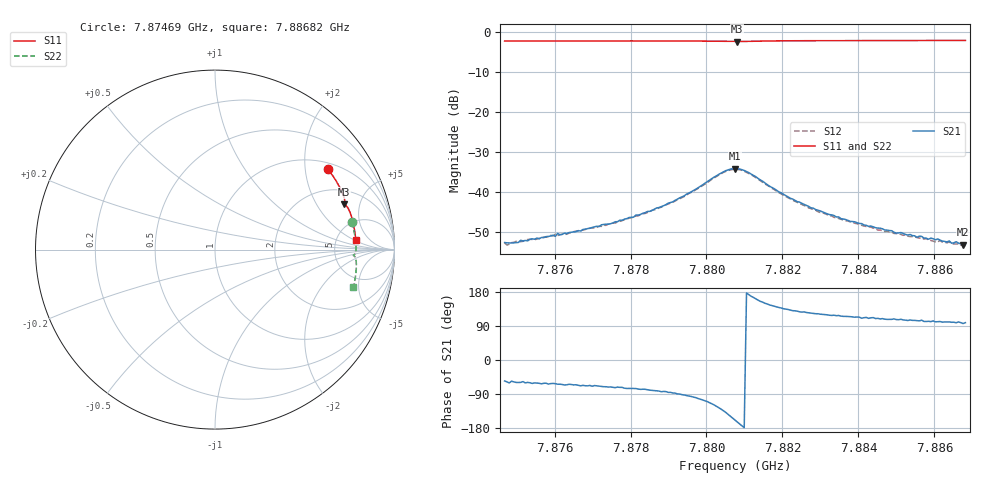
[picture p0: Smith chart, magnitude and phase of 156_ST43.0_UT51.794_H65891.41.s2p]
#  HZ  S  DB  R  50.00
! Rohde & Schwarz Vector Network Analyzer
! Rohde-Schwarz,ZNB20-2Port,1311601062101988,3.16
! Created: UTC 1/12/2023, 6:40:55 PM
! freq[Hz]  db:S11  ang:S11  db:S21  ang:S21  db:S12  ang:S12  db:S22  ang:S22
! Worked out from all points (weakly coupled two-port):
!   201 points, 7.87469 GHz to 7.88682 GHz, reference 50 ohm
!   highest |S21| = -34.08 dB at 7.88075 GHz (marker M1); lowest = -53.1 dB at 7.88676 GHz (marker M2)
!   lowest |S11| = -2.4 dB at 7.88081 GHz (marker M3), VSWR 7.44, Z = 148 + j178 ohm
!   |S11| at or under -10 dB: nowhere
!   |S22| runs from -2.3 to -1.9 dB; largest |S21 - S12| = 0.0013
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7.874686e9  -2.24 35.3  -52.55 -55.4  -52.67 -60.4  -2.19 11.3
7.874746e9  -2.24 35.1  -52.62 -57.7  -53.16 -60.8  -2.20 11.1
7.874989e9  -2.24 34.5  -52.57 -59.2  -52.25 -63.3  -2.18 10.6
7.87602e9  -2.22 31.6  -51.02 -62.4  -50.49 -67.1  -2.15 8.1
7.876081e9  -2.22 31.5  -50.27 -63.8  -50.80 -67.9  -2.15 8.0
7.876202e9  -2.21 31.1  -50.52 -64.6  -50.44 -66.9  -2.14 7.7
7.876748e9  -2.21 29.7  -49.29 -66.9  -49.42 -69.7  -2.13 6.4
7.877597e9  -2.19 27.3  -47.35 -73.0  -47.66 -76.2  -2.11 4.4
7.878749e9  -2.19 24.1  -43.81 -81.9  -43.90 -85.1  -2.09 1.7
7.879417e9  -2.20 22.2  -40.88 -92.3  -41.03 -95.7  -2.10 0.1
7.880448e9  -2.32 19.6  -34.86 -134.1  -35.01 -137.5  -2.22 -2.2
7.880751e9  -2.35 19.2  -34.08 -158.6  -34.26 -161.8  -2.26 -2.4
7.880812e9  -2.35 19.2  -34.13 -163.7  -34.29 -167.2  -2.25 -2.4
7.881115e9  -2.30 18.9  -35.10 172.4  -35.31 169.2  -2.20 -2.5
7.882207e9  -2.17 16.0  -41.50 131.6  -41.64 128.1  -2.05 -4.9
7.882813e9  -2.14 14.3  -43.97 123.0  -44.29 119.3  -2.02 -6.3
7.883784e9  -2.12 11.7  -47.27 114.4  -47.37 112.0  -1.99 -8.6
7.884815e9  -2.11 9.0  -49.56 107.2  -49.90 103.9  -1.97 -10.9
7.886028e9  -2.09 5.8  -51.86 100.6  -52.38 100.1  -1.96 -13.5
7.886149e9  -2.09 5.5  -51.92 101.5  -52.04 98.4  -1.96 -13.8
7.886756e9  -2.09 3.9  -53.07 96.2  -53.18 95.0  -1.95 -15.1
7.886816e9  -2.09 3.7  -53.01 98.5  -53.45 94.1  -1.96 -15.2
